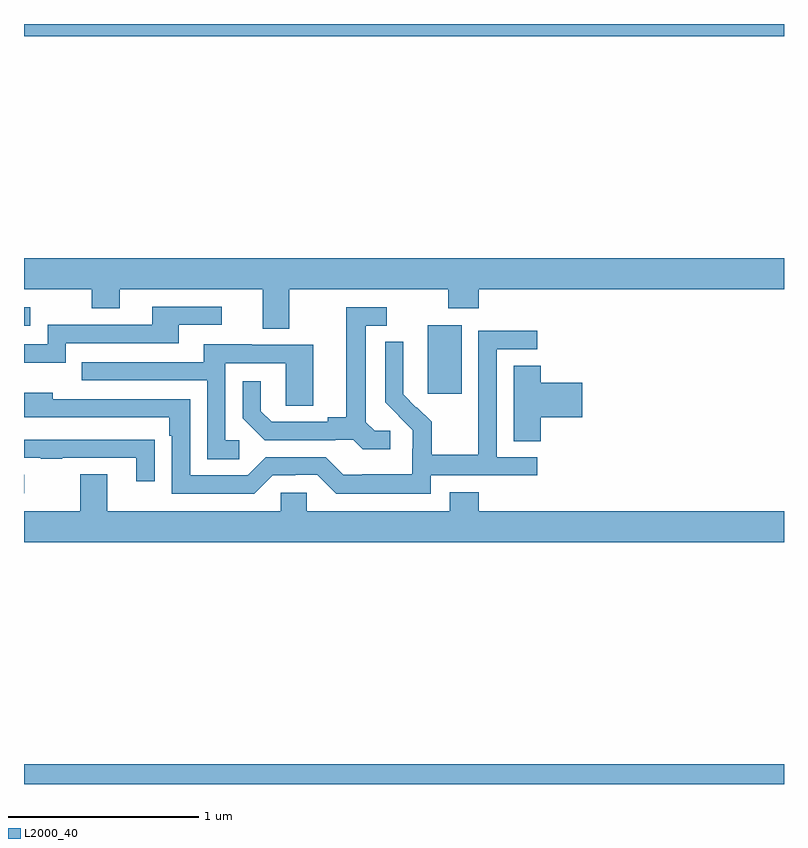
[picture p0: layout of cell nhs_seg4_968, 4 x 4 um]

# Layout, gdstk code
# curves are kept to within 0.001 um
import gdstk
lib = gdstk.Library(unit=1e-6, precision=1e-09)
def R(c, l, rs):  # rectangles x0, y0, x1, y1
    for r in rs: c.add(gdstk.rectangle(r[:2], r[2:], *l))
def P(c, l, *ps):  # polygons
    for p in ps: c.add(gdstk.Polygon(p, *l))
L2000_40 = (2000, 40)

nhs_seg4_968 = lib.new_cell('nhs_seg4_968')
R(nhs_seg4_968, L2000_40, [(161,776.9,165,777.004), (161,778.431,161.002,778.527), (163.124,778.953,163.303,779.314), (161,779.313,161.032,779.409), (161,780.836,165,780.9)])
P(nhs_seg4_968, L2000_40, [(162.397,779.504),(163.234,779.504),(163.234,779.405),(163.394,779.405),(163.394,779.504),(165,779.504),(165,779.668),(161,779.668),(161,779.504),(161.356,779.504),(161.356,779.405),(161.503,779.405),(161.503,779.504),(162.257,779.504),(162.257,779.296),(162.397,779.296)],
  [(161.22,779.22),(161.815,779.22),(161.815,779.316),(162.04,779.316),(162.04,779.412),(161.675,779.412),(161.675,779.316),(161.124,779.316),(161.124,779.214),(161,779.214),(161,779.117),(161.22,779.117)],
  [(162.928,778.758),(162.846,778.758),(162.799,778.805),(162.799,779.313),(162.91,779.313),(162.91,779.409),(162.695,779.409),(162.695,778.829),(162.599,778.829),(162.599,778.806),(162.304,778.806),(162.247,778.863),(162.247,779.02),(162.15,779.02),(162.15,778.826),(162.266,778.71),(162.638,778.71),(162.638,778.713),(162.732,778.713),(162.784,778.661),(162.928,778.661)],
  [(163.14,778.524),(163.702,778.524),(163.702,778.62),(163.488,778.62),(163.488,779.187),(163.702,779.187),(163.702,779.286),(163.392,779.286),(163.392,778.856),(163.39,778.856),(163.39,778.633),(163.145,778.633),(163.145,778.807),(163.068,778.884),(163.065,778.881),(162.995,778.952),(162.996,779.228),(162.9,779.228),(162.9,778.91),(163.046,778.762),(163.046,778.665),(163.044,778.665),(163.044,778.531),(162.781,778.531),(162.781,778.527),(162.681,778.527),(162.588,778.62),(162.273,778.62),(162.177,778.524),(161.874,778.524),(161.874,778.926),(161.15,778.926),(161.15,778.96),(161,778.96),(161,778.83),(161.765,778.83),(161.765,778.733),(161.778,778.733),(161.778,778.428),(162.213,778.428),(162.309,778.524),(162.428,778.524),(162.428,778.527),(162.543,778.527),(162.643,778.427),(163.14,778.427)],
  [(162.133,778.71),(162.06,778.71),(162.06,779.115),(162.378,779.115),(162.378,778.891),(162.523,778.891),(162.523,779.211),(162.199,779.211),(162.199,779.215),(161.945,779.215),(161.945,779.121),(161.305,779.121),(161.305,779.025),(161.964,779.025),(161.964,778.609),(162.133,778.609)],
  [(163.721,778.829),(163.939,778.829),(163.939,779.012),(163.721,779.012),(163.721,779.102),(163.577,779.102),(163.577,778.705),(163.721,778.705)],
  [(161.687,778.712),(161.585,778.712),(161.585,778.713),(161,778.713),(161,778.617),(161.089,778.617),(161.089,778.612),(161.201,778.612),(161.201,778.617),(161.591,778.617),(161.591,778.494),(161.687,778.494)],
  [(165,778.336),(163.394,778.336),(163.394,778.435),(163.241,778.435),(163.241,778.336),(162.489,778.336),(162.489,778.434),(162.351,778.434),(162.351,778.336),(161.437,778.336),(161.437,778.531),(161.297,778.531),(161.297,778.336),(161,778.336),(161,778.172),(165,778.172)])

lib.write_gds('nhs_seg4_968.gds')
